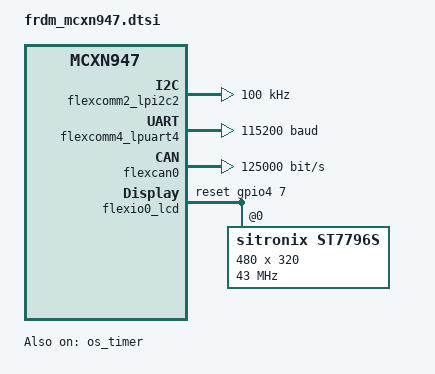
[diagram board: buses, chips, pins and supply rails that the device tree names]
/*
 * Copyright 2023 NXP
 *
 * SPDX-License-Identifier: Apache-2.0
 */

#include "frdm_mcxn947-pinctrl.dtsi"
#include <zephyr/dt-bindings/i2c/i2c.h>
#include <zephyr/dt-bindings/display/panel.h>
#include <zephyr/dt-bindings/mipi_dbi/mipi_dbi.h>

/ {
	aliases{
		led0 = &red_led;
		led1 = &green_led;
		led2 = &blue_led;
	};

	leds {
		compatible = "gpio-leds";
		green_led: led_1 {
			gpios = <&gpio0 27 GPIO_ACTIVE_LOW>;
			label = "Green LED";
			status = "disabled";
		};
		blue_led: led_2 {
			gpios = <&gpio1 2 GPIO_ACTIVE_LOW>;
			label = "Blue LED";
			status = "disabled";
		};
		red_led: led_3 {
			gpios = <&gpio0 10 GPIO_ACTIVE_LOW>;
			label = "Red LED";
			status = "disabled";
		};
	};
};

&edma0 {
	status = "okay";
};

&flexcomm1_lpspi1 {
	pinctrl-0 = <&pinmux_flexcomm1_lpspi>;
	pinctrl-names = "default";
};

&flexcomm2_lpi2c2 {
	pinctrl-0 = <&pinmux_flexcomm2_lpi2c>;
	pinctrl-names = "default";
	clock-frequency = <I2C_BITRATE_STANDARD>;
};

&flexcomm4_lpuart4 {
	current-speed = <115200>;
	pinctrl-0 = <&pinmux_flexcomm4_lpuart>;
	pinctrl-names = "default";
};

&flash {
	partitions {
		compatible = "fixed-partitions";
		#address-cells = <1>;
		#size-cells = <1>;

		boot_partition: partition@0 {
			label = "mcuboot";
			reg = <0x00000000 DT_SIZE_K(64)>;
		};
		slot0_partition: partition@10000 {
			label = "image-0";
			reg = <0x00010000 DT_SIZE_K(960)>;
		};
		slot1_partition: partition@100000 {
			label = "image-1";
			reg = <0x00100000 DT_SIZE_K(960)>;
		};
		scratch_partition: partition@1f0000 {
			label = "image-scratch";
			reg = <0x001f0000 DT_SIZE_K(64)>;
		};
	};
};

/*
 * MCXN947 board uses OS timer as the kernel timer
 * In case we need to switch to SYSTICK timer, then
 * replace &os_timer with &systick
 */
&os_timer {
	status = "okay";
};

&sc_timer {
	pinctrl-0 = <&pinmux_sctimer>;
	pinctrl-names = "default";
};

&lpadc0 {
	pinctrl-0 = <&pinmux_lpadc0>;
	pinctrl-names = "default";
};

&flexcan0 {
	bus-speed = <125000>;
	bus-speed-data = <1000000>;
	pinctrl-0 = <&pinmux_flexcan0>;
	pinctrl-names = "default";
};

&flexio0 {
	flexio0_lcd: flexio0-lcd {
		compatible = "nxp,mipi-dbi-flexio-lcdif";
		#address-cells = <1>;
		#size-cells = <0>;
		/* DMA channels 0, muxed to FlexIO TX */
		dmas = <&edma0 0 61>;
		dma-names = "tx";
		shifters_count = <8>;
		timers_count   = <1>;
		enwr-pin = <1>;
		rd-pin = <0>;
		data-pin-start = <16>;
		/* 16-bit data bus, baud rate on each pin is 1MHz. */
		baudrate-bps = <160000000>;
		reset-gpios = <&gpio4 7 GPIO_ACTIVE_HIGH>;
		cs-gpios = <&gpio0 12 GPIO_ACTIVE_HIGH>;
		rs-gpios = <&gpio0 7 GPIO_ACTIVE_HIGH>;
		pinctrl-0 = <&pinmux_flexio_lcd>;
		pinctrl-names = "default";

		st7796s: st7796s@0 {
			compatible = "sitronix,st7796s";
			reg = <0>;
			mipi-max-frequency = <43000000>;
			mipi-dbi-mode = <MIPI_DBI_MODE_8080_BUS>;
			height = <320>;
			width = <480>;
			invert-mode = "1-dot";
			frmctl1 = [80 10];
			bpc = [1F 50 00 20];
			dfc = [8A 07 3B];
			pwr1 = [80 64];
			pwr2 = <0x13>;
			pwr3 = <0xA7>;
			vcmpctl = <0x09>;
			doca = [40 8A 00 00 29 19 A5 33];
			pgc = [F0 06 0B 07 06 05 2E 33 47 3A 17 16 2E 31];
			ngc = [F0 09 0D 09 08 23 2E 33 46 38 13 13 2C 32];
			madctl = <0x28>;
			color-invert;
		};
	};
};
